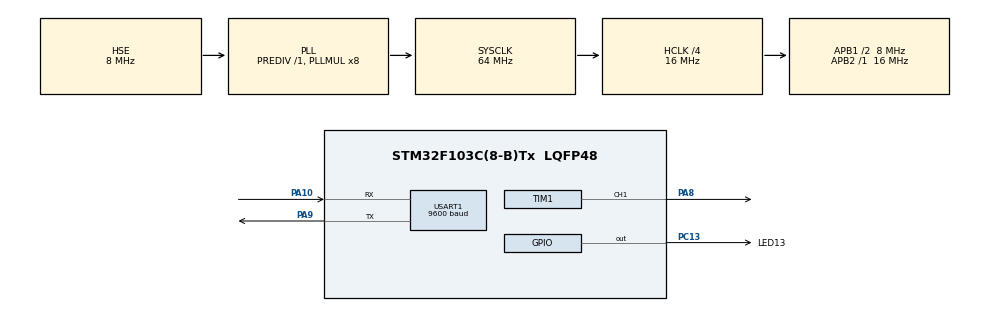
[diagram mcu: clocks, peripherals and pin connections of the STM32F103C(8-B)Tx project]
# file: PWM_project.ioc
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Mcu.Family=STM32F1
Mcu.Name=STM32F103C(8-B)Tx
Mcu.Package=LQFP48
NVIC.PriorityGroup=NVIC_PRIORITYGROUP_4
NVIC.TIM1_CC_IRQn=true\:0\:0\:false\:false\:true\:true\:true
NVIC.USART1_IRQn=true\:0\:0\:false\:false\:true\:true\:true
PA10.GPIO_Mode=GPIO_MODE_INPUT
PA10.GPIO_PuPd=GPIO_NOPULL
PA10.Mode=Asynchronous
PA10.Signal=USART1_RX
PA8.Signal=S_TIM1_CH1
PA9.GPIO_Mode=GPIO_MODE_AF_PP
PA9.GPIO_Speed=GPIO_SPEED_FREQ_HIGH
PA9.Mode=Asynchronous
PA9.Signal=USART1_TX
PC13-TAMPER-RTC.GPIO_Label=LED13
PC13-TAMPER-RTC.Signal=GPIO_Output
PD0-OSC_IN.Mode=HSE-External-Oscillator
PD0-OSC_IN.Signal=RCC_OSC_IN
PD1-OSC_OUT.Mode=HSE-External-Oscillator
PD1-OSC_OUT.Signal=RCC_OSC_OUT
ProjectManager.HeapSize=0x200
ProjectManager.StackSize=0x400
ProjectManager.TargetToolchain=STM32CubeIDE
RCC.AHBCLKDivider=RCC_SYSCLK_DIV4
RCC.AHBFreq_Value=16000000
RCC.APB1CLKDivider=RCC_HCLK_DIV2
RCC.APB1Freq_Value=8000000
RCC.APB1TimFreq_Value=16000000
RCC.APB2Freq_Value=16000000
RCC.APB2TimFreq_Value=16000000
RCC.HCLKFreq_Value=16000000
RCC.PLLMUL=RCC_PLL_MUL8
RCC.PLLSourceVirtual=RCC_PLLSOURCE_HSE
RCC.SYSCLKFreq_VALUE=64000000
RCC.SYSCLKSource=RCC_SYSCLKSOURCE_PLLCLK
RCC.USBFreq_Value=64000000
SH.S_TIM1_CH1.0=TIM1_CH1,PWM Generation1 CH1
TIM1.Channel-PWM\ Generation1\ CH1=TIM_CHANNEL_1
TIM1.Period=60000
TIM1.Prescaler=0
TIM1.Pulse-PWM\ Generation1\ CH1=0
USART1.BaudRate=9600
USART1.VirtualMode=VM_ASYNC
VP_SYS_VS_ND.Mode=No_Debug
board=custom

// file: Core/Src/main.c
/* USER CODE BEGIN Header */
/**
  ******************************************************************************
  * @file           : main.c
  * @brief          : Main program body
  ******************************************************************************
  * @attention
  *
  * <h2><center>&copy; Copyright (c) 2021 STMicroelectronics.
  * All rights reserved.</center></h2>
  *
  * This software component is licensed by ST under BSD 3-Clause license,
  * the "License"; You may not use this file except in compliance with the
  * License. You may obtain a copy of the License at:
  *                        opensource.org/licenses/BSD-3-Clause
  *
  ******************************************************************************
  */
/* USER CODE END Header */

#include "main.h"

TIM_HandleTypeDef htim1;

UART_HandleTypeDef huart1;

/* USER CODE BEGIN PV */
char buff[6] = {'0','0','0','0','0','0'};
/* USER CODE END PV */

void SystemClock_Config(void);
static void MX_GPIO_Init(void);
static void MX_USART1_UART_Init(void);
static void MX_TIM1_Init(void);

int main(void)
{

  /* MCU Configuration--------------------------------------------------------*/

  /* Reset of all peripherals, Initializes the Flash interface and the Systick. */
  HAL_Init();

  /* Configure the system clock */
  SystemClock_Config();

  /* Initialize all configured peripherals */
  MX_GPIO_Init();
  MX_USART1_UART_Init();
  MX_TIM1_Init();
  /* USER CODE BEGIN 2 */
  HAL_TIM_PWM_Start_IT(&htim1, TIM_CHANNEL_1);
  uint16_t i=0;
  volatile uint16_t j=0;

  /* USER CODE END 2 */

  /* Infinite loop */
  /* USER CODE BEGIN WHILE */
  while (1)
  {
	HAL_UART_Receive_IT(&huart1, buff, 6);
	if(buff[0] == '0') 	// если первый элемент buff 0 то включается автоматический режим
	{
		for(i=1; i<=20000; i++)// увеличение яркости
		  {
			  TIM1->CCR1 = i;
			  for(j=0; j<100; j++) __NOP();
		  }
		  HAL_Delay(500);
		  for(i=20000; i>0; i--)//уменьшение яркости
		  {
			  TIM1->CCR1 = i;
			  for(j=0; j<100; j++) __NOP();
		  }
		  HAL_Delay(500);
		  HAL_UART_Transmit_IT(&huart1, buff, 6);
	 }
	 else if(buff[0] == '1')// если перый элемент buff 1 то яркость настраивается вручную
	 {
		uint16_t x = 0;
		x = ((buff[1] - '0') * 10000) + ((buff[2] - '0') * 1000) + ((buff[3] - '0')*100)+((buff[4] - '0')*10)+(buff[5] - '0');//считывание из buff значения яркости
		TIM1->CCR1 = x;
		for(j=0; j<100; j++) __NOP();
		HAL_UART_Transmit_IT(&huart1, buff, 6);
		HAL_Delay(1000);
	 }

    /* USER CODE END WHILE */

  }
}

void SystemClock_Config(void)
{
  RCC_OscInitTypeDef RCC_OscInitStruct = {0};
  RCC_ClkInitTypeDef RCC_ClkInitStruct = {0};

  /** Initializes the CPU, AHB and APB busses clocks
  */
  RCC_OscInitStruct.OscillatorType = RCC_OSCILLATORTYPE_HSE;
  RCC_OscInitStruct.HSEState = RCC_HSE_ON;
  RCC_OscInitStruct.HSEPredivValue = RCC_HSE_PREDIV_DIV1;
  RCC_OscInitStruct.HSIState = RCC_HSI_ON;
  RCC_OscInitStruct.PLL.PLLState = RCC_PLL_ON;
  RCC_OscInitStruct.PLL.PLLSource = RCC_PLLSOURCE_HSE;
  RCC_OscInitStruct.PLL.PLLMUL = RCC_PLL_MUL8;
  if (HAL_RCC_OscConfig(&RCC_OscInitStruct) != HAL_OK)
  {
    Error_Handler();
  }
  /** Initializes the CPU, AHB and APB busses clocks
  */
  RCC_ClkInitStruct.ClockType = RCC_CLOCKTYPE_HCLK|RCC_CLOCKTYPE_SYSCLK
                              |RCC_CLOCKTYPE_PCLK1|RCC_CLOCKTYPE_PCLK2;
  RCC_ClkInitStruct.SYSCLKSource = RCC_SYSCLKSOURCE_PLLCLK;
  RCC_ClkInitStruct.AHBCLKDivider = RCC_SYSCLK_DIV4;
  RCC_ClkInitStruct.APB1CLKDivider = RCC_HCLK_DIV2;
  RCC_ClkInitStruct.APB2CLKDivider = RCC_HCLK_DIV1;

  if (HAL_RCC_ClockConfig(&RCC_ClkInitStruct, FLASH_LATENCY_2) != HAL_OK)
  {
    Error_Handler();
  }
}

static void MX_TIM1_Init(void)
{

  TIM_MasterConfigTypeDef sMasterConfig = {0};
  TIM_OC_InitTypeDef sConfigOC = {0};
  TIM_BreakDeadTimeConfigTypeDef sBreakDeadTimeConfig = {0};

  htim1.Instance = TIM1;
  htim1.Init.Prescaler = 0;
  htim1.Init.CounterMode = TIM_COUNTERMODE_UP;
  htim1.Init.Period = 60000;
  htim1.Init.ClockDivision = TIM_CLOCKDIVISION_DIV1;
  htim1.Init.RepetitionCounter = 0;
  htim1.Init.AutoReloadPreload = TIM_AUTORELOAD_PRELOAD_DISABLE;
  if (HAL_TIM_PWM_Init(&htim1) != HAL_OK)
  {
    Error_Handler();
  }
  sMasterConfig.MasterOutputTrigger = TIM_TRGO_RESET;
  sMasterConfig.MasterSlaveMode = TIM_MASTERSLAVEMODE_DISABLE;
  if (HAL_TIMEx_MasterConfigSynchronization(&htim1, &sMasterConfig) != HAL_OK)
  {
    Error_Handler();
  }
  sConfigOC.OCMode = TIM_OCMODE_PWM1;
  sConfigOC.Pulse = 0;
  sConfigOC.OCPolarity = TIM_OCPOLARITY_HIGH;
  sConfigOC.OCNPolarity = TIM_OCNPOLARITY_HIGH;
  sConfigOC.OCFastMode = TIM_OCFAST_DISABLE;
  sConfigOC.OCIdleState = TIM_OCIDLESTATE_RESET;
  sConfigOC.OCNIdleState = TIM_OCNIDLESTATE_RESET;
  if (HAL_TIM_PWM_ConfigChannel(&htim1, &sConfigOC, TIM_CHANNEL_1) != HAL_OK)
  {
    Error_Handler();
  }
  sBreakDeadTimeConfig.OffStateRunMode = TIM_OSSR_DISABLE;
  sBreakDeadTimeConfig.OffStateIDLEMode = TIM_OSSI_DISABLE;
  sBreakDeadTimeConfig.LockLevel = TIM_LOCKLEVEL_OFF;
  sBreakDeadTimeConfig.DeadTime = 0;
  sBreakDeadTimeConfig.BreakState = TIM_BREAK_DISABLE;
  sBreakDeadTimeConfig.BreakPolarity = TIM_BREAKPOLARITY_HIGH;
  sBreakDeadTimeConfig.AutomaticOutput = TIM_AUTOMATICOUTPUT_DISABLE;
  if (HAL_TIMEx_ConfigBreakDeadTime(&htim1, &sBreakDeadTimeConfig) != HAL_OK)
  {
    Error_Handler();
  }
  HAL_TIM_MspPostInit(&htim1);

}

static void MX_USART1_UART_Init(void)
{

  huart1.Instance = USART1;
  huart1.Init.BaudRate = 9600;
  huart1.Init.WordLength = UART_WORDLENGTH_8B;
  huart1.Init.StopBits = UART_STOPBITS_1;
  huart1.Init.Parity = UART_PARITY_NONE;
  huart1.Init.Mode = UART_MODE_TX_RX;
  huart1.Init.HwFlowCtl = UART_HWCONTROL_NONE;
  huart1.Init.OverSampling = UART_OVERSAMPLING_16;
  if (HAL_UART_Init(&huart1) != HAL_OK)
  {
    Error_Handler();
  }

}

static void MX_GPIO_Init(void)
{
  GPIO_InitTypeDef GPIO_InitStruct = {0};

  /* GPIO Ports Clock Enable */
  __HAL_RCC_GPIOC_CLK_ENABLE();
  __HAL_RCC_GPIOD_CLK_ENABLE();
  __HAL_RCC_GPIOA_CLK_ENABLE();

  /*Configure GPIO pin Output Level */
  HAL_GPIO_WritePin(LED13_GPIO_Port, LED13_Pin, GPIO_PIN_RESET);

  /*Configure GPIO pin : LED13_Pin */
  GPIO_InitStruct.Pin = LED13_Pin;
  GPIO_InitStruct.Mode = GPIO_MODE_OUTPUT_PP;
  GPIO_InitStruct.Pull = GPIO_NOPULL;
  GPIO_InitStruct.Speed = GPIO_SPEED_FREQ_LOW;
  HAL_GPIO_Init(LED13_GPIO_Port, &GPIO_InitStruct);

}

void Error_Handler(void)
{
}

/************************ (C) COPYRIGHT STMicroelectronics *****END OF FILE****/
